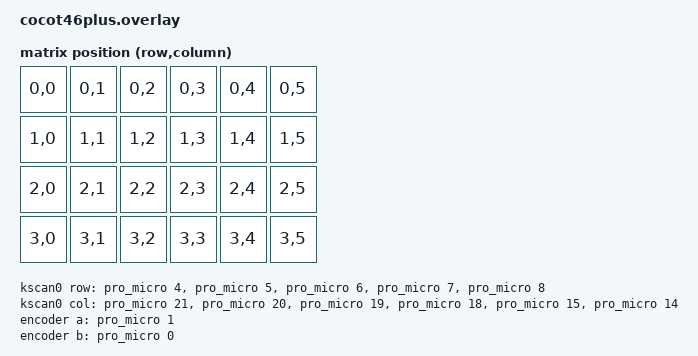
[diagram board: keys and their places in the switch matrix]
/*
 * Copyright (c) 2024 The ZMK Contributors
 * 
 * SPDX-License-Identifier: MIT
 */

#include <dt-bindings/zmk/matrix_transform.h>

/ {
    chosen {
        zmk,kscan = &kscan0;
        zmk,matrix_transform = &default_transform;
    };

    default_transform: keymap_transform_0 {
        compatible = "zmk,matrix-transform";
        rows = <4>;
        columns = <6>;
        map = <
            RC(0,0) RC(0,1) RC(0,2) RC(0,3) RC(0,4) RC(0,5)
            RC(1,0) RC(1,1) RC(1,2) RC(1,3) RC(1,4) RC(1,5)
            RC(2,0) RC(2,1) RC(2,2) RC(2,3) RC(2,4) RC(2,5)
            RC(3,0) RC(3,1) RC(3,2) RC(3,3) RC(3,4) RC(3,5)
        >;

    };

    kscan0: kscan {
        compatible = "zmk,kscan-gpio";
        label = "KSCAN";
        diode-direction = "row2col";

        // 4 rows
        row-gpios =
            <&pro_micro 4 (GPIO_ACTIVE_HIGH)>,   // D4
            <&pro_micro 5 (GPIO_ACTIVE_HIGH)>,   // C6
            <&pro_micro 6 (GPIO_ACTIVE_HIGH)>,   // D7
            <&pro_micro 7 (GPIO_ACTIVE_HIGH)>,   // E6
            <&pro_micro 8 (GPIO_ACTIVE_HIGH)>;   // E6

        // 6 columns
        col-gpios =
            <&pro_micro 21 (GPIO_ACTIVE_HIGH | GPIO_PULL_DOWN)>,  // F4
            <&pro_micro 20 (GPIO_ACTIVE_HIGH | GPIO_PULL_DOWN)>,  // F5
            <&pro_micro 19 (GPIO_ACTIVE_HIGH | GPIO_PULL_DOWN)>,  // F6
            <&pro_micro 18 (GPIO_ACTIVE_HIGH | GPIO_PULL_DOWN)>,  // F7
            <&pro_micro 15 (GPIO_ACTIVE_HIGH | GPIO_PULL_DOWN)>,  // B1
            <&pro_micro 14 (GPIO_ACTIVE_HIGH | GPIO_PULL_DOWN)>;  // B3
    };

    encoder: encoder {
        compatible = "alps,ec11";
        label = "ENCODER";
        a-gpios = <&pro_micro 1 (GPIO_ACTIVE_HIGH | GPIO_PULL_UP)>;  // D3
        b-gpios = <&pro_micro 0 (GPIO_ACTIVE_HIGH | GPIO_PULL_UP)>;  // D2
        steps = <80>;
        status = "okay";
    };

    sensors {
        compatible = "zmk,keymap-sensors";
        sensors = <&encoder>;
        triggers-per-rotation = <20>;
    };
};

/* SPI0設定（デバッグ出力付き） */
&pinctrl {
    spi0_default: spi0_default {
        group1 {
            psels = <NRF_PSEL(SPIM_SCK, 0, 8)>,      /* P0.08 */
                    <NRF_PSEL(SPIM_MOSI, 0, 11)>,    /* P0.11 */
                    <NRF_PSEL(SPIM_MISO, 0, 11)>;    /* P0.11 (3線式) */
        };
    };
};

&spi0 {
    compatible = "nordic,nrf-spim";
    status = "okay";
    pinctrl-0 = <&spi0_default>;
    pinctrl-names = "default";
    
    cs-gpios = <&gpio0 30 GPIO_ACTIVE_LOW>;  /* P0.30 */

    trackball: adns5050@0 {
        compatible = "pixart,adns5050";
        reg = <0>;
        spi-max-frequency = <1000000>;  /* デバッグ用に低速化 */
        
        /* デバッグ用：最小構成 */
        cpi = <500>;  /* デフォルト値 */
    };
};
